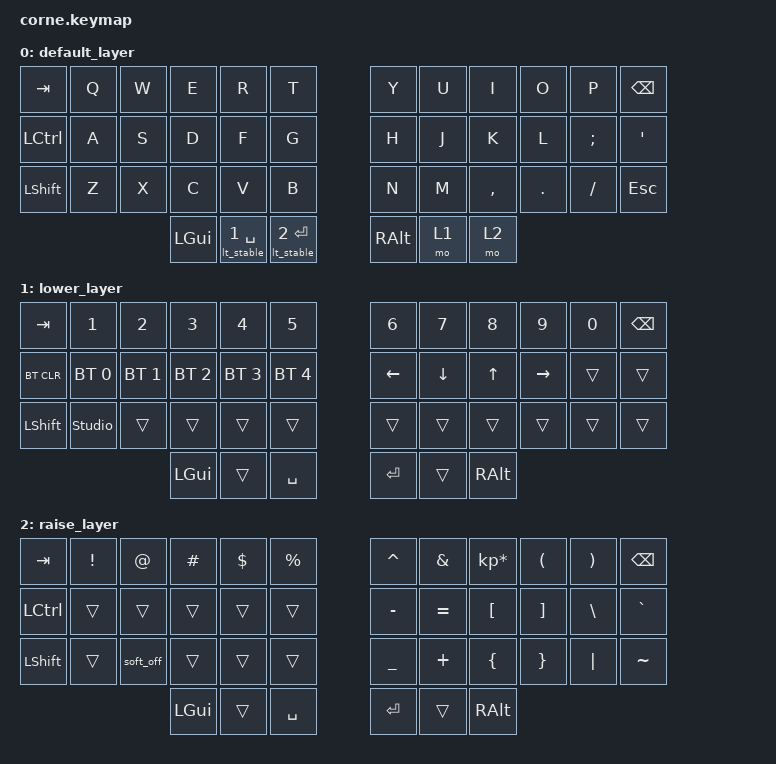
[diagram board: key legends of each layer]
/*
 * Copyright (c) 2020 The ZMK Contributors
 *
 * SPDX-License-Identifier: MIT
 */

#include <behaviors.dtsi>
#include <dt-bindings/zmk/bt.h>
#include <dt-bindings/zmk/keys.h>
#include <dt-bindings/zmk/outputs.h>

/ {
    /* Custom Behaviors go INSIDE the root block */
    behaviors {
        lt_stable: lt_stable {
            compatible = "zmk,behavior-layer-tap";
            label = "LT_STABLE";
            #binding-cells = <2>;
            tapping-term-ms = <200>;
            quick-tap-ms = <0>;        // STOPS THE 111111 REPEATS
            flavor = "balanced";       // MAKES LAYER SWITCHING PREDICTABLE
        };
    };

    &soft_off {
        hold-time-ms = <3000>; 
    };

    keymap {
        compatible = "zmk,keymap";

        default_layer {
            bindings = <
&kp TAB    &kp Q  &kp W  &kp E     &kp R  &kp T        &kp Y    &kp U  &kp I      &kp O    &kp P     &kp BSPC
&kp LCTRL  &kp A  &kp S  &kp D     &kp F  &kp G        &kp H    &kp J  &kp K      &kp L    &kp SEMI  &kp SQT
&kp LSHFT  &kp Z  &kp X  &kp C     &kp V  &kp B        &kp N    &kp M  &kp COMMA  &kp DOT  &kp FSLH  &kp ESC
          &kp LGUI &lt_stable 1 SPACE &lt_stable 2 RET   &kp RALT &mo 1 &mo 2
            >;
        };

        lower_layer {
            bindings = <
&kp TAB    &kp N1       &kp N2       &kp N3       &kp N4       &kp N5         &kp N6   &kp N7   &kp N8 &kp N9    &kp N0 &kp BSPC
&bt BT_CLR &bt BT_SEL 0 &bt BT_SEL 1 &bt BT_SEL 2 &bt BT_SEL 3 &bt BT_SEL 4   &kp LEFT &kp DOWN &kp UP &kp RIGHT &trans &trans
&kp LSHFT  &studio_unlock &trans     &trans       &trans       &trans         &trans   &trans   &trans &trans    &trans &trans
                                     &kp LGUI     &trans       &kp SPACE      &kp RET  &trans   &kp RALT
            >;
        };

        raise_layer {
            bindings = <
&kp TAB    &kp EXCL &kp AT &kp HASH &kp DLLR &kp PRCNT   &kp CARET &kp AMPS  &kp KP_MULTIPLY &kp LPAR &kp RPAR &kp BSPC
&kp LCTRL  &trans   &trans &trans   &trans   &trans      &kp MINUS &kp EQUAL &kp LBKT        &kp RBKT &kp BSLH &kp GRAVE
&kp LSHFT  &trans   &soft_off &trans &trans  &trans      &kp UNDER &kp PLUS  &kp LBRC        &kp RBRC &kp PIPE &kp TILDE
                           &kp LGUI &trans   &kp SPACE   &kp RET   &trans    &kp RALT
            >;
        };
    };
};
